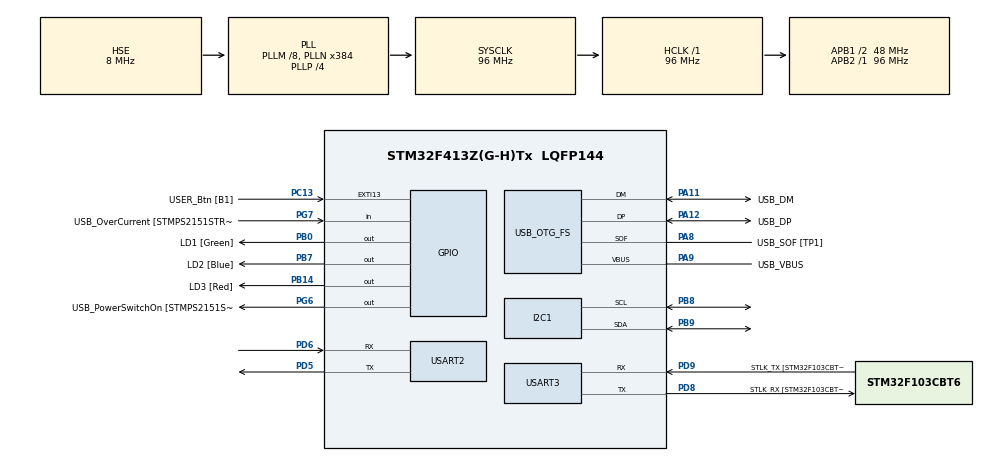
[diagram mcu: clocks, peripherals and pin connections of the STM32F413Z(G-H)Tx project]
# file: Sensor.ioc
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I2C1.I2C_Mode=I2C_Fast
Mcu.Family=STM32F4
Mcu.Name=STM32F413Z(G-H)Tx
Mcu.Package=LQFP144
NVIC.PriorityGroup=NVIC_PRIORITYGROUP_4
NVIC.TIM6_DAC_IRQn=true\:2\:0\:true\:false\:true\:true\:true\:true
NVIC.TIM7_IRQn=true\:2\:0\:true\:false\:true\:true\:true\:true
PA10.GPIO_Label=USB_ID
PA10.Signal=USB_OTG_FS_ID
PA11.GPIO_Label=USB_DM
PA11.Mode=Device_Only
PA11.Signal=USB_OTG_FS_DM
PA12.GPIO_Label=USB_DP
PA12.Mode=Device_Only
PA12.Signal=USB_OTG_FS_DP
PA13.GPIO_Label=TMS
PA13.Mode=Serial_Wire
PA13.Signal=SYS_JTMS-SWDIO
PA14.GPIO_Label=TCK
PA14.Mode=Serial_Wire
PA14.Signal=SYS_JTCK-SWCLK
PA8.GPIO_Label=USB_SOF [TP1]
PA8.Mode=Activate_SOF_FS
PA8.Signal=USB_OTG_FS_SOF
PA9.GPIO_Label=USB_VBUS
PA9.Mode=Activate_VBUS
PA9.Signal=USB_OTG_FS_VBUS
PB0.GPIO_Label=LD1 [Green]
PB0.Signal=GPIO_Output
PB14.GPIO_Label=LD3 [Red]
PB14.Signal=GPIO_Output
PB3.GPIO_Label=SWO
PB3.Signal=SYS_JTDO-SWO
PB7.GPIO_Label=LD2 [Blue]
PB7.Signal=GPIO_Output
PB8.Mode=I2C
PB8.Signal=I2C1_SCL
PB9.Mode=I2C
PB9.Signal=I2C1_SDA
PC13.GPIO_Label=USER_Btn [B1]
PC13.Signal=GPXTI13
PC14-OSC32_IN.Mode=LSE-External-Oscillator
PC14-OSC32_IN.Signal=RCC_OSC32_IN
PC15-OSC32_OUT.Mode=LSE-External-Oscillator
PC15-OSC32_OUT.Signal=RCC_OSC32_OUT
PD5.Mode=Asynchronous
PD5.Signal=USART2_TX
PD6.Mode=Asynchronous
PD6.Signal=USART2_RX
PD8.GPIO_Label=STLK_RX [STM32F103CBT6_PA3]
PD8.Mode=Asynchronous
PD8.Signal=USART3_TX
PD9.GPIO_Label=STLK_TX [STM32F103CBT6_PA2]
PD9.Mode=Asynchronous
PD9.Signal=USART3_RX
PG6.GPIO_Label=USB_PowerSwitchOn [STMPS2151STR_EN]
PG6.Signal=GPIO_Output
PG7.GPIO_Label=USB_OverCurrent [STMPS2151STR_FAULT]
PG7.Signal=GPIO_Input
PH0\ -\ OSC_IN.GPIO_Label=MCO
PH0\ -\ OSC_IN.Mode=HSE-External-Clock-Source
PH0\ -\ OSC_IN.Signal=RCC_OSC_IN
PH1\ -\ OSC_OUT.Mode=HSE-External-Clock-Source
PH1\ -\ OSC_OUT.Signal=RCC_OSC_OUT
ProjectManager.HeapSize=0x200
ProjectManager.StackSize=0x400
ProjectManager.TargetToolchain=STM32CubeIDE
RCC.48MHZClocksFreq_Value=24000000
RCC.AHBFreq_Value=96000000
RCC.APB1CLKDivider=RCC_HCLK_DIV2
RCC.APB1Freq_Value=48000000
RCC.APB1TimFreq_Value=96000000
RCC.APB2Freq_Value=96000000
RCC.APB2TimFreq_Value=96000000
RCC.CortexFreq_Value=96000000
RCC.HCLKFreq_Value=96000000
RCC.HSE_VALUE=8000000
RCC.HSI_VALUE=16000000
RCC.PLLM=8
RCC.PLLMUL=RCC_PLL_MUL9
RCC.PLLN=384
RCC.PLLP=RCC_PLLP_DIV4
RCC.PLLQ=8
RCC.PRESCALERUSB=RCC_USBCLKSOURCE_PLL_DIV1_5
RCC.SYSCLKFreq_VALUE=96000000
RCC.SYSCLKSource=RCC_SYSCLKSOURCE_PLLCLK
RCC.SYSCLKSourceVirtual=RCC_SYSCLKSOURCE_PLLCLK
RCC.USBFreq_Value=48000000
RCC.VCOOutputFreq_Value=384000000
TIM6.Period=50000
TIM6.Prescaler=9599
TIM7.Period=10000
TIM7.Prescaler=9599
USART2.VirtualMode=VM_ASYNC
USART3.VirtualMode=VM_ASYNC
USB_OTG_FS.VirtualMode=Device_Only
VP_TIM6_VS_ClockSourceINT.Mode=Enable_Timer
VP_TIM7_VS_ClockSourceINT.Mode=Enable_Timer
board=NUCLEO-F413ZH

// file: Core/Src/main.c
/* USER CODE BEGIN Header */
/**
  ******************************************************************************
  * @file           : main.c
  * @brief          : Main program body
  ******************************************************************************
  * @attention
  *
  * Copyright (c) 2023 STMicroelectronics.
  * All rights reserved.
  *
  * This software is licensed under terms that can be found in the LICENSE file
  * in the root directory of this software component.
  * If no LICENSE file comes with this software, it is provided AS-IS.
  *
  ******************************************************************************
  */
/* USER CODE END Header */
#include "main.h"

/* USER CODE BEGIN Includes */
#include "string.h"
;
/* USER CODE END Includes */

I2C_HandleTypeDef hi2c1;

TIM_HandleTypeDef htim6;
TIM_HandleTypeDef htim7;

UART_HandleTypeDef huart2;
UART_HandleTypeDef huart3;

PCD_HandleTypeDef hpcd_USB_OTG_FS;

/* USER CODE BEGIN PV */

// I2C-address of HT221 with r/w-bit
uint8_t HT221_write = 0xBE;
uint8_t HT221_read = 0xBF;
char msg[100];
uint8_t sensor_on[2] = {0x20, 0x81}; // auf 1 Hz (0x81) in control reg 1 (0x20)

///////////////////////////////////////////
// Calibration
///////////////////////////////////////////

// Temperature:
// Reference Deg
uint8_t T0_deg_ad_l = 0x32; // Addres of low Register of degree of T0
uint8_t T0_deg_l;
uint8_t T1_deg_ad_l = 0x33;
uint8_t T1_deg_l;
uint16_t T0_deg;
uint16_t T1_deg;
uint8_t deg_ad_h = 0x35;
uint8_t deg_h;
uint8_t T0_deg_h;
uint8_t T1_deg_h;

// Reference Value
uint8_t T0_val_ad_l = 0x3C;
uint8_t T0_val_l;
uint8_t T0_val_ad_h = 0x3D;
uint8_t T0_val_h;
uint8_t T1_val_ad_l = 0x3E;
uint8_t T1_val_l;
uint8_t T1_val_ad_h = 0x3F;
uint8_t T1_val_h;
uint16_t T0_val;
uint16_t T1_val;
uint16_t dif_val;

// Ratio Counts / Degrees
uint16_t counts_per_deg;

// Humidity:
// Reference Hum
uint8_t H0_deg_ad_l = 0x30; // Addres of low Register of degree of T0
uint8_t H0_deg_l;
uint8_t H1_deg_ad_l = 0x31;
uint8_t H1_deg_l;
uint16_t H0_deg;
uint16_t H1_deg;
uint8_t H0_deg_h;
uint8_t H1_deg_h;

// Reference Value
uint8_t H0_val_ad_l = 0x36;
uint8_t H0_val_l;
uint8_t H0_val_ad_h = 0x37;
uint8_t H0_val_h;
uint8_t H1_val_ad_l = 0x3A;
uint8_t H1_val_l;
uint8_t H1_val_ad_h = 0x3B;
uint8_t H1_val_h;
uint16_t H0_val;
uint16_t H1_val;
uint16_t H_dif_val;

// Ratio Counts / Degrees
int16_t H_counts_per_deg;

///////////////////////////////////////////
// Measuring fields
///////////////////////////////////////////

// Temperature
uint8_t tempLowAd = 0x2A;
uint8_t tempHighAd = 0x2B;
uint8_t tempLow;
uint8_t tempHigh;
int16_t temp;
int16_t tempInC;

// Humidity
uint8_t humLowAd = 0x28;
uint8_t humHighAd = 0x29;
uint8_t humLow;
uint8_t humHigh;
uint16_t hum;
int16_t humInC;
/* USER CODE END PV */

void SystemClock_Config(void);
static void MX_GPIO_Init(void);
static void MX_USART3_UART_Init(void);
static void MX_USB_OTG_FS_PCD_Init(void);
static void MX_I2C1_Init(void);
static void MX_USART2_UART_Init(void);
static void MX_TIM6_Init(void);
static void MX_TIM7_Init(void);

/* USER CODE BEGIN 0 */

/*
 * Get Value from HT221 at addr into store
 */
void RxTx_I2C(uint8_t* addr, uint8_t* store) {
	// Set internal HT221 pointer to the required address
	HAL_I2C_Master_Transmit(&hi2c1, HT221_write, addr, 1, 1000);
	// Receive value
	HAL_I2C_Master_Receive(&hi2c1, HT221_read, store, 1, 1000);
}

/*
 * Get calibration values and calculate the conversion ratios
 */
void CalibrateSensor() {
	// Enable the sensors and set the measurement frequency to 1 Hz
	HAL_I2C_Master_Transmit(&hi2c1, HT221_write, &sensor_on, 2, 1000);

	// Get deg
	//T0 low
	RxTx_I2C(&T0_deg_ad_l, &T0_deg_l);

	// T1 low
	RxTx_I2C(&T1_deg_ad_l, &T1_deg_l);

	// deg_h
	RxTx_I2C(&deg_ad_h, &deg_h);

	T0_deg_h = deg_h & 0x03;
	T1_deg_h = deg_h & 0x0C;

	T0_deg = ((T0_deg_h << 8) | T0_deg_l) / 8;
	T1_deg = ((T1_deg_h << 6) | T1_deg_l) / 8;

	// Get T0 and T1 Value
	RxTx_I2C(&T0_val_ad_l, &T0_val_l);
	RxTx_I2C(&T0_val_ad_h, &T0_val_h);
	RxTx_I2C(&T1_val_ad_l, &T1_val_l);
	RxTx_I2C(&T1_val_ad_h, &T1_val_h);

	T0_val = (T0_val_h << 8) | T0_deg_l;
	T1_val = (T1_val_h << 8) | T1_deg_l;

	// Calculate the conversion ratio
	counts_per_deg = (T1_val - T0_val) / (T1_deg - T0_deg);

	// -----------------------------------------------------------------------------------------------------------------
	// Get deg
	//T0 low
	RxTx_I2C(&H0_deg_ad_l, &H0_deg_l);
	// T1 low

	RxTx_I2C(&H1_deg_ad_l, &H1_deg_l);
	// deg_h
	H0_deg = (H0_deg_l) / 2;
	H1_deg = (H1_deg_l) / 2;

	// Get T0 and T1 Value
	RxTx_I2C(&H0_val_ad_l, &H0_val_l);
	RxTx_I2C(&H0_val_ad_h, &H0_val_h);
	RxTx_I2C(&H1_val_ad_l, &H1_val_l);
	RxTx_I2C(&H1_val_ad_h, &H1_val_h);
	H0_val = (H0_val_h << 8) | H0_deg_l;
	H1_val = (H1_val_h << 8) | H1_deg_l;

	// Calculate the conversion ratio
	H_counts_per_deg = (H1_val - H0_val) / (H1_deg - H0_deg);
}
/* USER CODE END 0 */

int main(void)
{

  /* MCU Configuration--------------------------------------------------------*/

  /* Reset of all peripherals, Initializes the Flash interface and the Systick. */
  HAL_Init();

  /* Configure the system clock */
  SystemClock_Config();

  /* Initialize all configured peripherals */
  MX_GPIO_Init();
  MX_USART3_UART_Init();
  MX_USB_OTG_FS_PCD_Init();
  MX_I2C1_Init();
  MX_USART2_UART_Init();
  MX_TIM6_Init();
  MX_TIM7_Init();
  /* USER CODE BEGIN 2 */

  // init
  // start
  CalibrateSensor();
  HAL_TIM_Base_Start_IT(&htim6);
  HAL_TIM_Base_Start_IT(&htim7);

  /* USER CODE END 2 */

  /* Infinite loop */
  /* USER CODE BEGIN WHILE */
    ///////////////////////////////////////////////////////////////////////////////////////////////////////////////////////////////////////////////////
  while (1)
  {
    /* USER CODE END WHILE */

  }
}

void SystemClock_Config(void)
{
  RCC_OscInitTypeDef RCC_OscInitStruct = {0};
  RCC_ClkInitTypeDef RCC_ClkInitStruct = {0};

  /** Configure the main internal regulator output voltage
  */
  __HAL_RCC_PWR_CLK_ENABLE();
  __HAL_PWR_VOLTAGESCALING_CONFIG(PWR_REGULATOR_VOLTAGE_SCALE1);

  /** Initializes the RCC Oscillators according to the specified parameters
  * in the RCC_OscInitTypeDef structure.
  */
  RCC_OscInitStruct.OscillatorType = RCC_OSCILLATORTYPE_HSE;
  RCC_OscInitStruct.HSEState = RCC_HSE_BYPASS;
  RCC_OscInitStruct.PLL.PLLState = RCC_PLL_ON;
  RCC_OscInitStruct.PLL.PLLSource = RCC_PLLSOURCE_HSE;
  RCC_OscInitStruct.PLL.PLLM = 8;
  RCC_OscInitStruct.PLL.PLLN = 384;
  RCC_OscInitStruct.PLL.PLLP = RCC_PLLP_DIV4;
  RCC_OscInitStruct.PLL.PLLQ = 8;
  RCC_OscInitStruct.PLL.PLLR = 2;
  if (HAL_RCC_OscConfig(&RCC_OscInitStruct) != HAL_OK)
  {
    Error_Handler();
  }

  /** Initializes the CPU, AHB and APB buses clocks
  */
  RCC_ClkInitStruct.ClockType = RCC_CLOCKTYPE_HCLK|RCC_CLOCKTYPE_SYSCLK
                              |RCC_CLOCKTYPE_PCLK1|RCC_CLOCKTYPE_PCLK2;
  RCC_ClkInitStruct.SYSCLKSource = RCC_SYSCLKSOURCE_PLLCLK;
  RCC_ClkInitStruct.AHBCLKDivider = RCC_SYSCLK_DIV1;
  RCC_ClkInitStruct.APB1CLKDivider = RCC_HCLK_DIV2;
  RCC_ClkInitStruct.APB2CLKDivider = RCC_HCLK_DIV1;

  if (HAL_RCC_ClockConfig(&RCC_ClkInitStruct, FLASH_LATENCY_3) != HAL_OK)
  {
    Error_Handler();
  }
}

static void MX_I2C1_Init(void)
{

  hi2c1.Instance = I2C1;
  hi2c1.Init.ClockSpeed = 400000;
  hi2c1.Init.DutyCycle = I2C_DUTYCYCLE_2;
  hi2c1.Init.OwnAddress1 = 0;
  hi2c1.Init.AddressingMode = I2C_ADDRESSINGMODE_7BIT;
  hi2c1.Init.DualAddressMode = I2C_DUALADDRESS_DISABLE;
  hi2c1.Init.OwnAddress2 = 0;
  hi2c1.Init.GeneralCallMode = I2C_GENERALCALL_DISABLE;
  hi2c1.Init.NoStretchMode = I2C_NOSTRETCH_DISABLE;
  if (HAL_I2C_Init(&hi2c1) != HAL_OK)
  {
    Error_Handler();
  }

}

static void MX_TIM6_Init(void)
{

  TIM_MasterConfigTypeDef sMasterConfig = {0};

  htim6.Instance = TIM6;
  htim6.Init.Prescaler = 9599;
  htim6.Init.CounterMode = TIM_COUNTERMODE_UP;
  htim6.Init.Period = 50000;
  htim6.Init.AutoReloadPreload = TIM_AUTORELOAD_PRELOAD_DISABLE;
  if (HAL_TIM_Base_Init(&htim6) != HAL_OK)
  {
    Error_Handler();
  }
  sMasterConfig.MasterOutputTrigger = TIM_TRGO_RESET;
  sMasterConfig.MasterSlaveMode = TIM_MASTERSLAVEMODE_DISABLE;
  if (HAL_TIMEx_MasterConfigSynchronization(&htim6, &sMasterConfig) != HAL_OK)
  {
    Error_Handler();
  }

}

static void MX_TIM7_Init(void)
{

  TIM_MasterConfigTypeDef sMasterConfig = {0};

  htim7.Instance = TIM7;
  htim7.Init.Prescaler = 9599;
  htim7.Init.CounterMode = TIM_COUNTERMODE_UP;
  htim7.Init.Period = 10000;
  htim7.Init.AutoReloadPreload = TIM_AUTORELOAD_PRELOAD_DISABLE;
  if (HAL_TIM_Base_Init(&htim7) != HAL_OK)
  {
    Error_Handler();
  }
  sMasterConfig.MasterOutputTrigger = TIM_TRGO_RESET;
  sMasterConfig.MasterSlaveMode = TIM_MASTERSLAVEMODE_DISABLE;
  if (HAL_TIMEx_MasterConfigSynchronization(&htim7, &sMasterConfig) != HAL_OK)
  {
    Error_Handler();
  }

}

static void MX_USART2_UART_Init(void)
{

  huart2.Instance = USART2;
  huart2.Init.BaudRate = 115200;
  huart2.Init.WordLength = UART_WORDLENGTH_8B;
  huart2.Init.StopBits = UART_STOPBITS_1;
  huart2.Init.Parity = UART_PARITY_NONE;
  huart2.Init.Mode = UART_MODE_TX_RX;
  huart2.Init.HwFlowCtl = UART_HWCONTROL_NONE;
  huart2.Init.OverSampling = UART_OVERSAMPLING_16;
  if (HAL_UART_Init(&huart2) != HAL_OK)
  {
    Error_Handler();
  }

}

static void MX_USART3_UART_Init(void)
{

  huart3.Instance = USART3;
  huart3.Init.BaudRate = 115200;
  huart3.Init.WordLength = UART_WORDLENGTH_8B;
  huart3.Init.StopBits = UART_STOPBITS_1;
  huart3.Init.Parity = UART_PARITY_NONE;
  huart3.Init.Mode = UART_MODE_TX_RX;
  huart3.Init.HwFlowCtl = UART_HWCONTROL_NONE;
  huart3.Init.OverSampling = UART_OVERSAMPLING_16;
  if (HAL_UART_Init(&huart3) != HAL_OK)
  {
    Error_Handler();
  }

}

static void MX_USB_OTG_FS_PCD_Init(void)
{

  hpcd_USB_OTG_FS.Instance = USB_OTG_FS;
  hpcd_USB_OTG_FS.Init.dev_endpoints = 6;
  hpcd_USB_OTG_FS.Init.speed = PCD_SPEED_FULL;
  hpcd_USB_OTG_FS.Init.dma_enable = DISABLE;
  hpcd_USB_OTG_FS.Init.phy_itface = PCD_PHY_EMBEDDED;
  hpcd_USB_OTG_FS.Init.Sof_enable = ENABLE;
  hpcd_USB_OTG_FS.Init.low_power_enable = DISABLE;
  hpcd_USB_OTG_FS.Init.lpm_enable = DISABLE;
  hpcd_USB_OTG_FS.Init.battery_charging_enable = ENABLE;
  hpcd_USB_OTG_FS.Init.vbus_sensing_enable = ENABLE;
  hpcd_USB_OTG_FS.Init.use_dedicated_ep1 = DISABLE;
  if (HAL_PCD_Init(&hpcd_USB_OTG_FS) != HAL_OK)
  {
    Error_Handler();
  }

}

static void MX_GPIO_Init(void)
{
  GPIO_InitTypeDef GPIO_InitStruct = {0};

  /* GPIO Ports Clock Enable */
  __HAL_RCC_GPIOC_CLK_ENABLE();
  __HAL_RCC_GPIOH_CLK_ENABLE();
  __HAL_RCC_GPIOB_CLK_ENABLE();
  __HAL_RCC_GPIOD_CLK_ENABLE();
  __HAL_RCC_GPIOG_CLK_ENABLE();
  __HAL_RCC_GPIOA_CLK_ENABLE();

  /*Configure GPIO pin Output Level */
  HAL_GPIO_WritePin(GPIOB, LD1_Pin|LD3_Pin|LD2_Pin, GPIO_PIN_RESET);

  /*Configure GPIO pin Output Level */
  HAL_GPIO_WritePin(USB_PowerSwitchOn_GPIO_Port, USB_PowerSwitchOn_Pin, GPIO_PIN_RESET);

  /*Configure GPIO pin : USER_Btn_Pin */
  GPIO_InitStruct.Pin = USER_Btn_Pin;
  GPIO_InitStruct.Mode = GPIO_MODE_IT_RISING;
  GPIO_InitStruct.Pull = GPIO_NOPULL;
  HAL_GPIO_Init(USER_Btn_GPIO_Port, &GPIO_InitStruct);

  /*Configure GPIO pins : LD1_Pin LD3_Pin LD2_Pin */
  GPIO_InitStruct.Pin = LD1_Pin|LD3_Pin|LD2_Pin;
  GPIO_InitStruct.Mode = GPIO_MODE_OUTPUT_PP;
  GPIO_InitStruct.Pull = GPIO_NOPULL;
  GPIO_InitStruct.Speed = GPIO_SPEED_FREQ_LOW;
  HAL_GPIO_Init(GPIOB, &GPIO_InitStruct);

  /*Configure GPIO pin : USB_PowerSwitchOn_Pin */
  GPIO_InitStruct.Pin = USB_PowerSwitchOn_Pin;
  GPIO_InitStruct.Mode = GPIO_MODE_OUTPUT_PP;
  GPIO_InitStruct.Pull = GPIO_NOPULL;
  GPIO_InitStruct.Speed = GPIO_SPEED_FREQ_LOW;
  HAL_GPIO_Init(USB_PowerSwitchOn_GPIO_Port, &GPIO_InitStruct);

  /*Configure GPIO pin : USB_OverCurrent_Pin */
  GPIO_InitStruct.Pin = USB_OverCurrent_Pin;
  GPIO_InitStruct.Mode = GPIO_MODE_INPUT;
  GPIO_InitStruct.Pull = GPIO_NOPULL;
  HAL_GPIO_Init(USB_OverCurrent_GPIO_Port, &GPIO_InitStruct);

}

/* USER CODE BEGIN 4 */
HAL_TIM_PeriodElapsedCallback(TIM_HandleTypeDef * htim)
{
	if(htim == &htim6){
		// print in Terminal
		sprintf(msg, "Measurement: \r \n \n");
		HAL_UART_Transmit(&huart3, &msg, strlen(msg), 1000);
		sprintf(msg, "Temperature: %d \r \n \n", tempInC);
		HAL_UART_Transmit(&huart3, &msg, strlen(msg), 1000);
		sprintf(msg, "Humidity: %d \r \n \n \n", humInC);
		HAL_UART_Transmit(&huart3, &msg, strlen(msg), 1000);
	}
	else {
		// Temperature
		RxTx_I2C(&tempLowAd, &tempLow);
		RxTx_I2C(&tempHighAd, &tempHigh);
		temp = (tempHigh << 8) | tempLow;
		tempInC = ((temp - T0_val) / counts_per_deg) + T0_deg;

		// Humility
		RxTx_I2C(&humLowAd, &humLow);
		RxTx_I2C(&humHighAd, &humHigh);
		hum = (humHigh << 8) | humLow;
		humInC = ((hum - H0_val) / H_counts_per_deg) + H0_deg;

		// send with UART
		sprintf(msg, "t%3dh%3d", tempInC, humInC); //'txxxhxxx'
		HAL_UART_Transmit(&huart2, &msg, strlen(msg), 1000);
	}

}
/* USER CODE END 4 */

void Error_Handler(void)
{
  __disable_irq();
  while (1)
  {
  }
}
